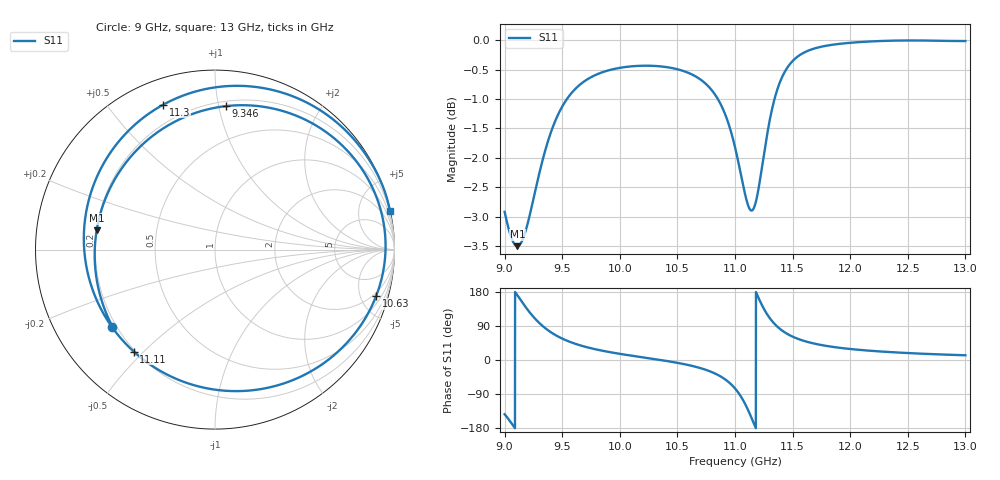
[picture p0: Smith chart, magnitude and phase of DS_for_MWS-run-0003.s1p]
! TOUCHSTONE file generated by CST DESIGN STUDIO
! Date and time: Tue Feb  4 13:04:40 2025
! Project name: C:\Work\MatlabApps\UnitCellOptimizationMatlab\CST\unitcell.cst
! Tree item: Tasks\Sweep1\SPara1\S-Parameters
! Header version: 2024
! Port assignment regex: !\s*Touchstone port\s*([0-9]+)\s*=\s*(CST MWS port|CST DES external port|CST DES block port)\s*(.+)\s* \(\"(.*)\"\)(\s*mode\s*([0-9]+))?.*
! Touchstone port assignment:
! Touchstone port 1 = CST DES external port 1 ("")
# GHz S MA R 50
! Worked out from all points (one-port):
!   4001 points, 9 GHz to 13 GHz, reference 50 ohm
!   lowest |S11| = -3.5 dB at 9.111 GHz (marker M1), VSWR 5.03, Z = 10 + j3.9 ohm
!   |S11| at or under -10 dB: nowhere
!   S11 on the Smith chart (normalised r, x): 9 GHz: 0.18, -0.32; 9.346 GHz: 0.23, +1.05; 10.63 GHz: 1.64, -6.70; 11.11 GHz: 0.19, -0.47; 11.3 GHz: 0.11, +0.70; 13 GHz: 0.06, +9.16
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9  0.7146 -143.1
9.062  0.6779 -167.8
9.111  0.6681 170.7
9.166  0.6804 146.6
9.231  0.7188 120.7
9.286  0.7594 102.2
9.346  0.8016 85.7
9.5  0.8782 56.5
9.705  0.9246 34.5
10  0.9474 16.2
10.5  0.9448 -7.5
10.634  0.9344 -16.0
10.759  0.9158 -27.2
10.855  0.8899 -40.0
10.933  0.8554 -55.3
11  0.8112 -75.0
11.058  0.7631 -99.6
11.108  0.7265 -128.5
11.155  0.7175 -161.1
11.197  0.741 168.8
11.252  0.8007 134.4
11.304  0.8576 109.6
11.38  0.9157 84.7
11.5  0.9601 61.7
11.694  0.9844 42.9
12  0.9951 29.0
12.5  0.9996 18.3
13  0.9985 12.5
